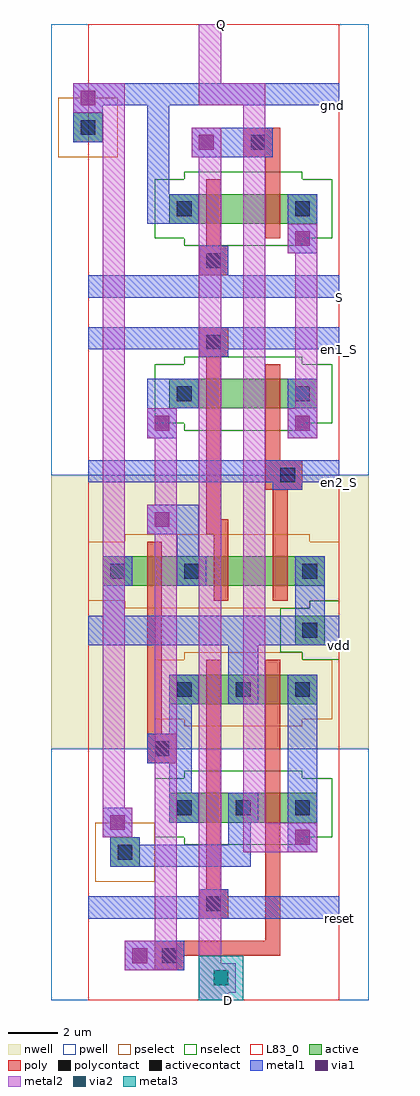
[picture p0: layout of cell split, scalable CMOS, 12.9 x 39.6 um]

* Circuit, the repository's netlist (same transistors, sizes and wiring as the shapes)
.SUBCKT split D Q en1_S en2_S reset S vdd gnd
M1 net_1 S gnd gnd n w=1.2u l=0.6u 
M2 net_2 D net_1 gnd n w=1.2u l=0.6u  
M3 net_3 en2_S net_2 gnd n w=1.2u l=0.6u  
M4 net_4 en1_S net_3 gnd n w=1.2u l=0.6u  
M5 net_4 en1_S net_5 vdd p w=1.2u l=0.6u
M6 vdd en2_S net_5 vdd p w=1.2u l=0.6u    
M7 Q net_4 vdd vdd p w=1.2u l=0.6u  
M8 Q net_4 gnd gnd n w=1.2u l=0.6u
M9 reset_bar reset vdd vdd p w=1.2u l=0.6u
M10 reset_bar reset gnd gnd n w=1.2u l=0.6u
M11 net_4 reset_bar vdd vdd p w=1.2u l=0.6u
.ENDS split

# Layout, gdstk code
import gdstk
lib = gdstk.Library(unit=1e-6, precision=1e-09)
def R(c, l, rs):  # rectangles x0, y0, x1, y1
    for r in rs: c.add(gdstk.rectangle(r[:2], r[2:], *l))
def A(c, l, x, y, w, h, nx, ny, dx, dy):  # array of equal rectangles
    R(c, l, [(x+i*dx, y+j*dy, x+i*dx+w, y+j*dy+h) for i in range(nx) for j in range(ny)])
pwell = (41, 0)
nwell = (42, 0)
active = (43, 0)
pselect = (44, 0)
nselect = (45, 0)
poly = (46, 0)
polycontact = (47, 0)
activecontact = (48, 0)
metal1 = (49, 0)
via1 = (50, 0)
metal2 = (51, 0)
via2 = (61, 0)
metal3 = (62, 0)
L83_0 = (83, 0)

split = lib.new_cell('split')
R(split, pwell, [(-1.5,0,11.4,10.2), (-1.5,21.3,11.4,39.6)])
R(split, nwell, [(-1.5,10.2,11.4,21.3)])
R(split, active, [(0.9,5.4,2.1,6.6), (3.3,7.2,9.3,8.4), (3.3,12,9.3,13.2), (8.4,14.4,9.6,15.6), (0.6,16.8,9.6,18), (3.3,24,9.3,25.2), (3.3,31.5,9.3,32.7), (-0.6,34.8,0.6,36)])
R(split, pselect, [(0.3,4.8,2.7,7.2), (3.9,11.1,8.7,11.4), (2.7,11.4,9.9,13.8), (3.9,13.8,8.7,14.1), (1.5,15.9,9,16.2), (0,16.2,10.2,18.6), (1.5,18.6,9,18.9), (-1.2,34.2,1.2,36.6)])
R(split, nselect, [(3.9,6.3,8.7,6.6), (2.7,6.6,9.9,9), (3.9,9,8.7,9.3), (8.7,13.8,10.2,14.1), (7.8,14.1,10.2,15.9), (9,15.9,10.2,16.2), (3.9,23.1,8.7,23.4), (2.7,23.4,9.9,25.8), (3.9,25.8,8.7,26.1), (3.9,30.6,8.7,30.9), (2.7,30.9,9.9,33.3), (3.9,33.3,8.7,33.6)])
R(split, poly, [(2.7,1.2,3.9,1.8), (2.7,1.8,7.8,2.4), (7.2,2.4,7.8,13.8), (4.5,3.3,5.7,4.5), (4.8,4.5,5.4,13.8), (2.4,9.6,3.6,10.8), (2.4,10.8,3,18.6), (5.1,16.2,5.7,18.9), (7.5,16.2,8.1,20.7), (4.8,18.9,5.7,19.5), (4.8,19.5,5.4,26.1), (7.2,20.7,8.7,21.9), (7.2,21.9,7.8,25.8), (4.5,26.1,5.7,27.3), (4.5,29.4,5.7,30.6), (4.8,30.6,5.4,33.3), (7.2,30.9,7.8,34.2), (6.3,34.2,7.8,35.4)])
R(split, polycontact, [(3,1.5,3.6,2.1), (4.8,3.6,5.4,4.2), (2.7,9.9,3.3,10.5), (7.8,21,8.4,21.6), (4.8,26.4,5.4,27), (4.8,29.7,5.4,30.3), (6.6,34.5,7.2,35.1)])
A(split, activecontact, 3.6, 7.5, 0.6, 0.6, 3, 2, 2.4, 4.8)
R(split, activecontact, [(1.2,5.7,1.8,6.3), (8.7,14.7,9.3,15.3), (0.9,17.1,1.5,17.7), (3.9,17.1,4.5,17.7), (8.7,17.1,9.3,17.7), (3.6,24.3,4.2,24.9), (8.4,24.3,9,24.9), (3.6,31.8,4.2,32.4), (8.4,31.8,9,32.4), (-0.3,35.1,0.3,35.7)])
R(split, metal1, [(1.5,1.2,3.9,2.4), (0,3.3,10.2,4.2), (4.5,4.2,5.7,4.5), (0.9,5.4,6.6,6.3), (8.1,6,9.3,13.2), (0.9,6.3,2.1,6.6), (5.7,6.3,6.6,7.2), (0.6,6.6,1.8,7.8), (3.3,7.2,4.5,8.4), (5.7,7.2,6.9,8.4), (3.3,8.4,4.2,9.6), (2.4,9.6,4.2,10.8), (3.3,10.8,4.2,12), (3.3,12,4.5,13.2), (5.7,12,6.9,14.4), (0,14.4,10.2,15.6), (0.6,15.6,1.5,16.8), (8.4,15.6,9.6,18), (0.6,16.8,1.8,18), (3.6,16.8,4.8,18), (3.6,18,4.5,18.9), (2.4,18.9,4.5,20.1), (7.5,20.7,8.7,21), (0,21,10.2,21.9), (2.4,22.8,3.6,24), (8.1,22.8,9.3,25.2), (2.4,24,4.5,25.2), (4.5,26.1,5.7,26.4), (0,26.4,10.2,27.3), (0,28.5,10.2,29.4), (4.5,29.4,5.7,30.6), (8.1,30.3,9.3,32.7), (2.4,31.5,4.5,32.7), (2.4,32.7,3.3,36.3), (4.2,34.2,7.5,35.4), (-0.6,34.8,0.6,36.3), (-0.6,36.3,10.2,37.2)])
R(split, via1, [(1.8,1.5,2.4,2.1), (8.4,6.3,9,6.9), (0.9,6.9,1.5,7.5), (2.7,19.2,3.3,19.8), (2.7,23.1,3.3,23.7), (8.4,23.1,9,23.7), (8.4,30.6,9,31.2), (4.5,34.5,5.1,35.1), (-0.3,36.3,0.3,36.9)])
R(split, metal2, [(4.5,0,5.7,0.3), (4.5,0.3,6,1.5), (1.5,1.2,3.6,2.4), (4.5,1.5,5.4,34.2), (2.7,2.4,3.6,18.9), (6.3,6,9.3,7.2), (0.6,6.6,1.8,7.8), (6.3,7.2,7.2,36.3), (0.6,7.8,1.5,36), (2.4,18.9,3.6,20.1), (2.7,20.1,3.6,22.8), (2.4,22.8,3.6,24), (8.1,22.8,9.3,24), (8.4,24,9.3,30.3), (8.1,30.3,9.3,31.5), (4.2,34.2,5.4,35.4), (-0.6,36,1.5,37.2), (4.5,36.3,7.2,37.2), (4.5,37.2,5.4,39.6)])
R(split, via2, [(5.1,0.6,5.7,1.2)])
R(split, metal3, [(4.5,0,6.3,1.8)])
R(split, L83_0, [(0,0,10.2,39.6)])
split.add(gdstk.Label('reset', (10.2,3.3), layer=49, texttype=0))
split.add(gdstk.Label('S', (10.2,28.5), layer=49, texttype=0))
split.add(gdstk.Label('gnd', (9.9,36.3), layer=49, texttype=0))
split.add(gdstk.Label('D', (5.7,0), layer=62, texttype=0))
split.add(gdstk.Label('en2_S', (10.2,21), layer=49, texttype=0))
split.add(gdstk.Label('vdd', (10.2,14.4), layer=49, texttype=0))
split.add(gdstk.Label('en1_S', (10.2,26.4), layer=49, texttype=0))
split.add(gdstk.Label('Q', (5.4,39.6), layer=51, texttype=0))

lib.write_gds('split.gds')
